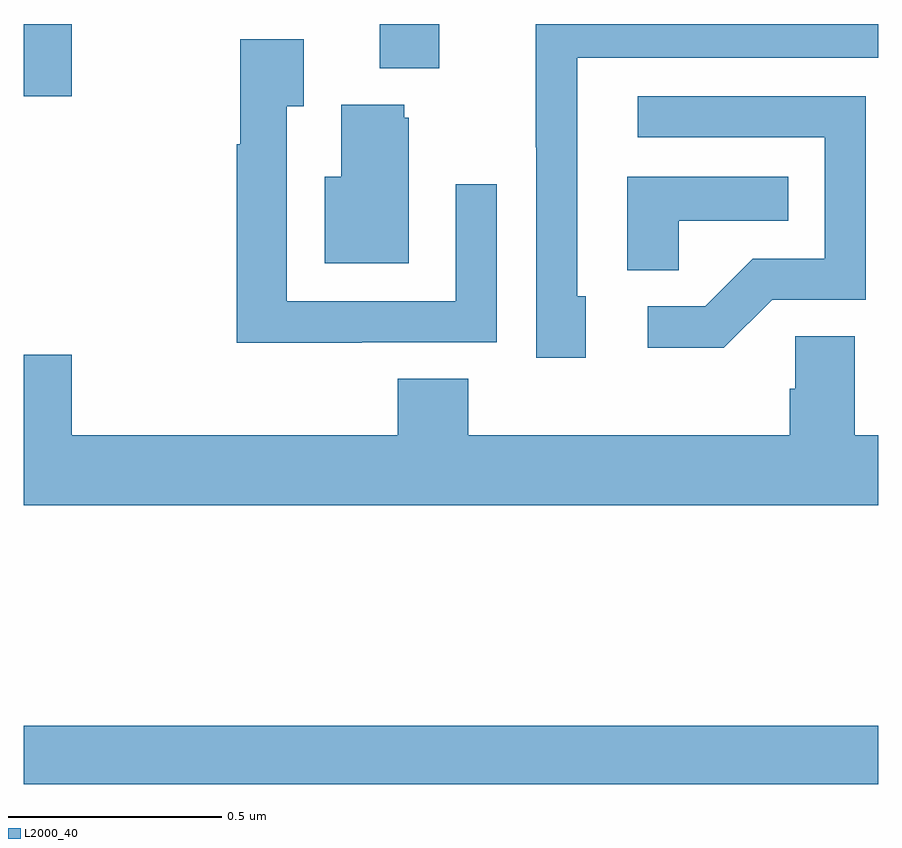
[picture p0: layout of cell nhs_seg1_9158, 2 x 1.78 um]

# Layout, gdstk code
import gdstk
lib = gdstk.Library(unit=1e-6, precision=1e-09)
def R(c, l, rs):  # rectangles x0, y0, x1, y1
    for r in rs: c.add(gdstk.rectangle(r[:2], r[2:], *l))
def P(c, l, *ps):  # polygons
    for p in ps: c.add(gdstk.Polygon(p, *l))
L2000_40 = (2000, 40)

nhs_seg1_9158 = lib.new_cell('nhs_seg1_9158')
R(nhs_seg1_9158, L2000_40, [(225,544.42,227,544.556), (225,546.03,225.112,546.199), (225.833,546.095,225.973,546.199)])
P(nhs_seg1_9158, L2000_40, [(226.315,545.562),(226.296,545.562),(226.296,546.12),(227,546.12),(227,546.199),(226.198,546.199),(226.198,545.911),(226.2,545.911),(226.2,545.418),(226.315,545.418)],
  [(225.791,545.454),(226.107,545.454),(226.107,545.824),(226.011,545.824),(226.011,545.55),(225.615,545.55),(225.615,546.007),(225.655,546.007),(225.655,546.163),(225.507,546.163),(225.507,545.918),(225.499,545.918),(225.499,545.453),(225.791,545.453)],
  [(226.752,545.553),(226.971,545.553),(226.971,546.03),(226.437,546.03),(226.437,545.934),(226.875,545.934),(226.875,545.649),(226.706,545.649),(226.595,545.538),(226.461,545.538),(226.461,545.441),(226.639,545.441)],
  [(225.901,545.979),(225.89,545.979),(225.89,546.01),(225.743,546.01),(225.743,545.842),(225.704,545.842),(225.704,545.639),(225.901,545.639)],
  [(226.533,545.738),(226.79,545.738),(226.79,545.842),(226.412,545.842),(226.412,545.623),(226.533,545.623)],
  [(227,545.236),(226.945,545.236),(226.945,545.468),(226.806,545.468),(226.806,545.345),(226.793,545.345),(226.793,545.236),(226.04,545.236),(226.04,545.369),(225.875,545.369),(225.875,545.236),(225.112,545.236),(225.112,545.425),(225,545.425),(225,545.072),(227,545.072)])

lib.write_gds('nhs_seg1_9158.gds')
